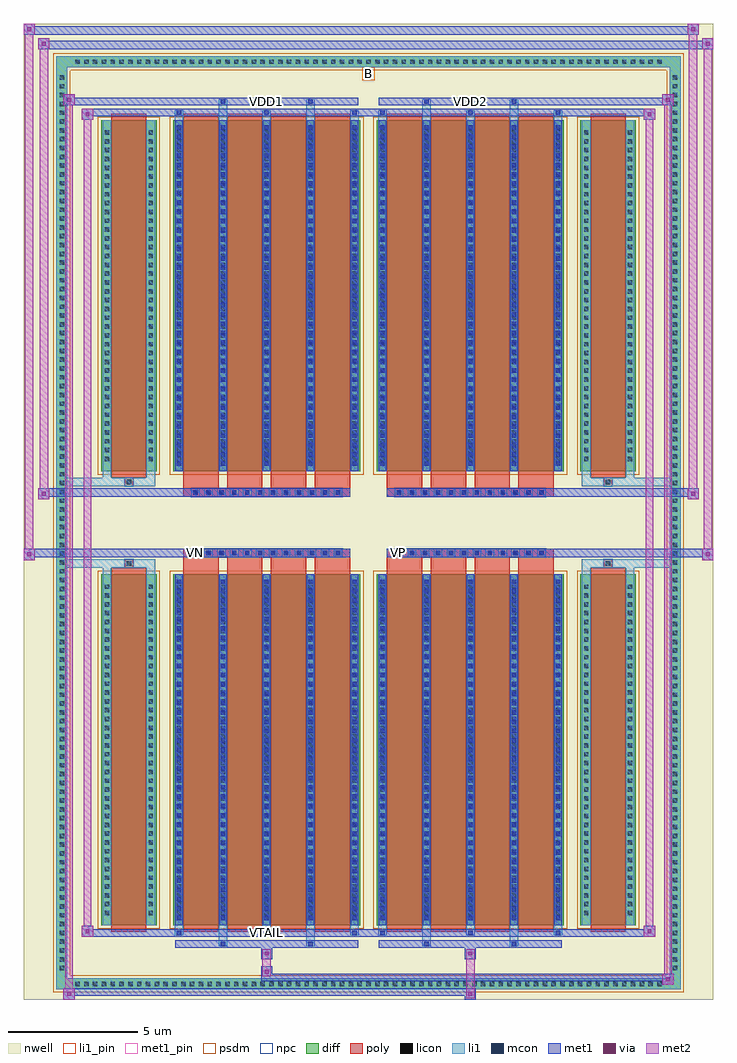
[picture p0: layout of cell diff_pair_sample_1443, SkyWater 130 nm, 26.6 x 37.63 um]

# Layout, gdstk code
import gdstk
lib = gdstk.Library(unit=1e-6, precision=5e-09)
def R(c, l, rs):  # rectangles x0, y0, x1, y1
    for r in rs: c.add(gdstk.rectangle(r[:2], r[2:], *l))
def A(c, l, x, y, w, h, nx, ny, dx, dy):  # array of equal rectangles
    R(c, l, [(x+i*dx, y+j*dy, x+i*dx+w, y+j*dy+h) for i in range(nx) for j in range(ny)])
def P(c, l, *ps):  # polygons
    for p in ps: c.add(gdstk.Polygon(p, *l))
nwell = (64, 20)
diff = (65, 20)
poly = (66, 20)
licon = (66, 44)
li1_pin = (67, 16)
li1 = (67, 20)
mcon = (67, 44)
met1_pin = (68, 16)
met1 = (68, 20)
via = (68, 44)
met2 = (69, 20)
psdm = (94, 20)
npc = (95, 20)

diff_pair_sample_1443 = lib.new_cell('diff_pair_sample_1443')
R(diff_pair_sample_1443, nwell, [(-13.3,-18.38,13.3,19.25), (-10.62,-16.57,-0.01,-0.805), (0.01,-16.57,10.62,-0.805), (-10.62,0.805,-0.01,16.57), (0.01,0.805,10.62,16.57)])
A(diff_pair_sample_1443, diff, -11.425, -17.98, 0.41, 0.41, 67, 2, 0.34, 35.55)
A(diff_pair_sample_1443, diff, -12.03, -17.375, 0.41, 0.41, 1, 102, 0, 0.34)
A(diff_pair_sample_1443, diff, 11.62, -17.375, 0.41, 0.41, 1, 102, 0, 0.34)
R(diff_pair_sample_1443, diff, [(-11.425,-17.98,11.425,-17.57), (-12.03,-17.375,-11.62,17.375), (11.62,-17.375,12.03,17.375), (-10.31,-15.525,-8.17,-1.985), (-7.53,-15.525,-0.32,-1.985), (0.32,-15.525,7.53,-1.985), (8.17,-15.525,10.31,-1.985), (-10.31,1.985,-8.17,15.525), (-7.53,1.985,-0.32,15.525), (0.32,1.985,7.53,15.525), (8.17,1.985,10.31,15.525), (-11.425,17.57,11.425,17.98)])
P(diff_pair_sample_1443, diff, [(12.03,17.98),(-12.03,17.98),(-12.03,-17.57),(-11.62,-17.57),(-11.62,17.57),(11.62,17.57),(11.62,-17.57),(-11.62,-17.57),(-12.03,-17.57),(-12.03,-17.98),(12.03,-17.98)])
A(diff_pair_sample_1443, poly, -7.14, -15.775, 1.36, 14.04, 4, 2, 1.69, 17.51)
A(diff_pair_sample_1443, poly, 0.71, -15.775, 1.36, 14.04, 4, 2, 1.69, 17.51)
A(diff_pair_sample_1443, poly, -7.14, -1.735, 1.36, 0.4, 4, 2, 1.69, 3.07)
A(diff_pair_sample_1443, poly, 0.71, -1.735, 1.36, 0.4, 4, 2, 1.69, 3.07)
A(diff_pair_sample_1443, poly, -6.84, -1.335, 0.33, 0.33, 12, 2, 0.5, 2.34)
A(diff_pair_sample_1443, poly, 1.01, -1.335, 0.33, 0.33, 12, 2, 0.5, 2.34)
R(diff_pair_sample_1443, poly, [(-9.92,-15.775,-8.56,-1.735), (8.56,-15.775,9.92,-1.735), (-9.405,-1.735,-9.075,-1.405), (-9.405,-1.735,-9.075,-1.405), (9.075,-1.735,9.405,-1.405), (9.075,-1.735,9.405,-1.405), (-7.14,-1.335,-0.71,-1.005), (0.71,-1.335,7.14,-1.005), (-7.14,1.005,-0.71,1.335), (0.71,1.005,7.14,1.335), (-9.405,1.405,-9.075,1.735), (-9.405,1.405,-9.075,1.735), (9.075,1.405,9.405,1.735), (9.075,1.405,9.405,1.735), (-9.92,1.735,-8.56,15.775), (8.56,1.735,9.92,15.775)])
A(diff_pair_sample_1443, licon, -11.305, -17.86, 0.17, 0.17, 67, 2, 0.34, 35.55)
A(diff_pair_sample_1443, licon, -11.91, -17.255, 0.17, 0.17, 1, 102, 0, 0.34)
A(diff_pair_sample_1443, licon, 11.74, -17.255, 0.17, 0.17, 1, 102, 0, 0.34)
A(diff_pair_sample_1443, licon, -10.17, -15.13, 0.17, 0.17, 1, 38, 0, 0.34)
A(diff_pair_sample_1443, licon, -8.48, -15.13, 0.17, 0.17, 1, 38, 0, 0.34)
A(diff_pair_sample_1443, licon, -7.39, -15.13, 0.17, 0.17, 5, 38, 1.69, 0.34)
A(diff_pair_sample_1443, licon, 0.46, -15.13, 0.17, 0.17, 5, 38, 1.69, 0.34)
A(diff_pair_sample_1443, licon, 8.31, -15.13, 0.17, 0.17, 1, 38, 0, 0.34)
A(diff_pair_sample_1443, licon, 10, -15.13, 0.17, 0.17, 1, 38, 0, 0.34)
A(diff_pair_sample_1443, licon, -6.76, -1.255, 0.17, 0.17, 12, 2, 0.5, 2.34)
A(diff_pair_sample_1443, licon, 1.09, -1.255, 0.17, 0.17, 12, 2, 0.5, 2.34)
A(diff_pair_sample_1443, licon, -10.17, 2.38, 0.17, 0.17, 1, 38, 0, 0.34)
A(diff_pair_sample_1443, licon, -8.48, 2.38, 0.17, 0.17, 1, 38, 0, 0.34)
A(diff_pair_sample_1443, licon, -7.39, 2.38, 0.17, 0.17, 5, 38, 1.69, 0.34)
A(diff_pair_sample_1443, licon, 0.46, 2.38, 0.17, 0.17, 5, 38, 1.69, 0.34)
A(diff_pair_sample_1443, licon, 8.31, 2.38, 0.17, 0.17, 1, 38, 0, 0.34)
A(diff_pair_sample_1443, licon, 10, 2.38, 0.17, 0.17, 1, 38, 0, 0.34)
R(diff_pair_sample_1443, licon, [(-9.325,-1.655,-9.155,-1.485), (9.155,-1.655,9.325,-1.485), (-9.325,1.485,-9.155,1.655), (9.155,1.485,9.325,1.655)])
R(diff_pair_sample_1443, li1_pin, [(-0.25,17.07,0.25,17.57)])
A(diff_pair_sample_1443, li1, -11.385, -17.94, 0.33, 0.33, 67, 2, 0.34, 35.55)
A(diff_pair_sample_1443, li1, -11.99, -17.335, 0.33, 0.33, 1, 102, 0, 0.34)
A(diff_pair_sample_1443, li1, 11.66, -17.335, 0.33, 0.33, 1, 102, 0, 0.34)
A(diff_pair_sample_1443, li1, -7.47, -15.9, 0.33, 0.375, 3, 2, 3.38, 31.425)
A(diff_pair_sample_1443, li1, -7.39, -15.9, 0.17, 0.17, 3, 2, 3.38, 31.63)
A(diff_pair_sample_1443, li1, 0.38, -15.9, 0.33, 0.375, 3, 2, 3.38, 31.425)
A(diff_pair_sample_1443, li1, 0.46, -15.9, 0.17, 0.17, 3, 2, 3.38, 31.63)
A(diff_pair_sample_1443, li1, -7.47, -15.525, 0.33, 13.54, 5, 2, 1.69, 17.51)
A(diff_pair_sample_1443, li1, 0.38, -15.525, 0.33, 13.54, 5, 2, 1.69, 17.51)
A(diff_pair_sample_1443, li1, -7.39, -15.32, 0.17, 0.17, 5, 37, 1.69, 0.36)
A(diff_pair_sample_1443, li1, -7.39, -15.32, 0.17, 13.13, 5, 2, 1.69, 17.51)
A(diff_pair_sample_1443, li1, 0.46, -15.32, 0.17, 0.17, 5, 37, 1.69, 0.36)
A(diff_pair_sample_1443, li1, 0.46, -15.32, 0.17, 13.13, 5, 2, 1.69, 17.51)
A(diff_pair_sample_1443, li1, -10.25, -15.21, 0.33, 0.33, 1, 38, 0, 0.34)
A(diff_pair_sample_1443, li1, -8.56, -15.21, 0.33, 0.33, 1, 38, 0, 0.34)
A(diff_pair_sample_1443, li1, -7.47, -15.21, 0.33, 0.33, 5, 38, 1.69, 0.34)
A(diff_pair_sample_1443, li1, 0.38, -15.21, 0.33, 0.33, 5, 38, 1.69, 0.34)
A(diff_pair_sample_1443, li1, 8.23, -15.21, 0.33, 0.33, 1, 38, 0, 0.34)
A(diff_pair_sample_1443, li1, 9.92, -15.21, 0.33, 0.33, 1, 38, 0, 0.34)
A(diff_pair_sample_1443, li1, -6.84, -1.335, 0.33, 0.33, 12, 2, 0.5, 2.34)
A(diff_pair_sample_1443, li1, 1.01, -1.335, 0.33, 0.33, 12, 2, 0.5, 2.34)
A(diff_pair_sample_1443, li1, -7.39, 2.19, 0.17, 0.17, 5, 37, 1.69, 0.36)
A(diff_pair_sample_1443, li1, 0.46, 2.19, 0.17, 0.17, 5, 37, 1.69, 0.36)
A(diff_pair_sample_1443, li1, -10.25, 2.3, 0.33, 0.33, 1, 38, 0, 0.34)
A(diff_pair_sample_1443, li1, -8.56, 2.3, 0.33, 0.33, 1, 38, 0, 0.34)
A(diff_pair_sample_1443, li1, -7.47, 2.3, 0.33, 0.33, 5, 38, 1.69, 0.34)
A(diff_pair_sample_1443, li1, 0.38, 2.3, 0.33, 0.33, 5, 38, 1.69, 0.34)
A(diff_pair_sample_1443, li1, 8.23, 2.3, 0.33, 0.33, 1, 38, 0, 0.34)
A(diff_pair_sample_1443, li1, 9.92, 2.3, 0.33, 0.33, 1, 38, 0, 0.34)
R(diff_pair_sample_1443, li1, [(-12.03,-17.98,-11.62,-17.57), (-12.03,-17.98,-11.62,-17.57), (-11.62,-17.98,11.62,-17.57), (11.62,-17.98,12.03,-17.57), (11.62,-17.98,12.03,-17.57), (-12.03,-17.57,-11.62,17.57), (11.62,-17.57,12.03,17.57), (-5.78,-16.33,-5.45,-15.525), (-5.7,-16.33,-5.53,-16.16), (-2.4,-16.33,-2.07,-15.525), (-2.32,-16.33,-2.15,-16.16), (2.07,-16.33,2.4,-15.525), (2.15,-16.33,2.32,-16.16), (5.45,-16.33,5.78,-15.525), (5.53,-16.33,5.7,-16.16), (-10.25,-15.525,-9.92,-1.985), (-8.56,-15.525,-8.23,-1.985), (8.23,-15.525,8.56,-1.985), (9.92,-15.525,10.25,-1.985), (-10.25,-1.985,-9.92,-1.405), (-8.56,-1.985,-8.23,-1.405), (8.23,-1.985,8.56,-1.405), (9.92,-1.985,10.25,-1.405), (-12.03,-1.735,-9.405,-1.405), (-10.25,-1.735,-9.405,-1.405), (-9.405,-1.735,-9.075,-1.405), (-9.075,-1.735,-8.23,-1.405), (8.23,-1.735,9.075,-1.405), (9.075,-1.735,9.405,-1.405), (9.075,-1.735,12.03,-1.405), (9.405,-1.735,10.25,-1.405), (-12.03,1.405,-9.405,1.735), (-10.25,1.405,-9.405,1.735), (-10.25,1.405,-9.92,1.985), (-9.405,1.405,-9.075,1.735), (-9.075,1.405,-8.23,1.735), (-8.56,1.405,-8.23,1.985), (8.23,1.405,9.075,1.735), (8.23,1.405,8.56,1.985), (9.075,1.405,9.405,1.735), (9.075,1.405,12.03,1.735), (9.405,1.405,10.25,1.735), (9.92,1.405,10.25,1.985), (-10.25,1.985,-9.92,15.525), (-8.56,1.985,-8.23,15.525), (8.23,1.985,8.56,15.525), (9.92,1.985,10.25,15.525), (-5.78,15.525,-5.45,16.33), (-2.4,15.525,-2.07,16.33), (2.07,15.525,2.4,16.33), (5.45,15.525,5.78,16.33), (-5.7,16.16,-5.53,16.33), (-2.32,16.16,-2.15,16.33), (2.15,16.16,2.32,16.33), (5.53,16.16,5.7,16.33), (-12.03,17.57,-11.62,17.98), (-12.03,17.57,-11.62,17.98), (-11.62,17.57,11.62,17.98), (11.62,17.57,12.03,17.98), (11.62,17.57,12.03,17.98)])
A(diff_pair_sample_1443, mcon, -7.39, -15.9, 0.17, 0.17, 3, 2, 3.38, 31.63)
A(diff_pair_sample_1443, mcon, 0.46, -15.9, 0.17, 0.17, 3, 2, 3.38, 31.63)
A(diff_pair_sample_1443, mcon, -7.39, -15.32, 0.17, 0.17, 5, 37, 1.69, 0.36)
A(diff_pair_sample_1443, mcon, 0.46, -15.32, 0.17, 0.17, 5, 37, 1.69, 0.36)
A(diff_pair_sample_1443, mcon, -6.76, -1.255, 0.17, 0.17, 12, 2, 0.5, 2.34)
A(diff_pair_sample_1443, mcon, 1.09, -1.255, 0.17, 0.17, 12, 2, 0.5, 2.34)
A(diff_pair_sample_1443, mcon, -7.39, 2.19, 0.17, 0.17, 5, 37, 1.69, 0.36)
A(diff_pair_sample_1443, mcon, 0.46, 2.19, 0.17, 0.17, 5, 37, 1.69, 0.36)
R(diff_pair_sample_1443, mcon, [(-5.7,-16.33,-5.53,-16.16), (-2.32,-16.33,-2.15,-16.16), (2.15,-16.33,2.32,-16.16), (5.53,-16.33,5.7,-16.16), (-5.7,16.16,-5.53,16.33), (-2.32,16.16,-2.15,16.33), (2.15,16.16,2.32,16.33), (5.53,16.16,5.7,16.33)])
R(diff_pair_sample_1443, met1_pin, [(-4.06,-15.94,-3.79,-15.67), (-6.81,-1.295,-6.54,-1.025), (1.04,-1.295,1.31,-1.025), (-4.06,16.12,-3.79,16.39), (3.79,16.12,4.06,16.39)])
A(diff_pair_sample_1443, met1, -7.45, -15.96, 0.29, 0.29, 3, 2, 3.38, 31.63)
A(diff_pair_sample_1443, met1, 0.4, -15.96, 0.29, 0.29, 3, 2, 3.38, 31.63)
A(diff_pair_sample_1443, met1, -7.45, -15.525, 0.29, 13.54, 5, 2, 1.69, 17.51)
A(diff_pair_sample_1443, met1, 0.4, -15.525, 0.29, 13.54, 5, 2, 1.69, 17.51)
A(diff_pair_sample_1443, met1, -7.45, -15.38, 0.29, 0.29, 5, 37, 1.69, 0.36)
A(diff_pair_sample_1443, met1, 0.4, -15.38, 0.29, 0.29, 5, 37, 1.69, 0.36)
A(diff_pair_sample_1443, met1, -6.82, -1.315, 0.29, 0.29, 12, 2, 0.5, 2.34)
A(diff_pair_sample_1443, met1, 1.03, -1.315, 0.29, 0.29, 12, 2, 0.5, 2.34)
A(diff_pair_sample_1443, met1, -7.45, 2.13, 0.29, 0.29, 5, 37, 1.69, 0.36)
A(diff_pair_sample_1443, met1, 0.4, 2.13, 0.29, 0.29, 5, 37, 1.69, 0.36)
R(diff_pair_sample_1443, met1, [(-11.76,-18.38,-11.33,-17.95), (3.71,-18.38,4.14,-17.95), (-11.76,-18.24,4.14,-17.95), (11.33,-17.81,11.76,-17.38), (-4.14,-17.67,11.76,-17.38), (-4.14,-17.53,-3.71,-17.1), (-4.14,-16.82,-3.71,-16.39), (3.71,-16.82,4.14,-16.39), (-7.45,-16.39,-0.4,-16.1), (-5.76,-16.39,-5.47,-16.1), (-2.38,-16.39,-2.09,-16.1), (0.4,-16.39,7.45,-16.1), (2.09,-16.39,2.38,-16.1), (5.47,-16.39,5.76,-16.1), (-11.05,-15.96,-10.62,-15.53), (-11.05,-15.96,-7.45,-15.67), (-7.45,-15.96,-0.4,-15.67), (-0.4,-15.96,0.4,-15.67), (0.4,-15.96,7.45,-15.67), (7.45,-15.96,11.05,-15.67), (10.62,-15.96,11.05,-15.53), (-13.3,-1.435,-12.87,-1.005), (12.87,-1.435,13.3,-1.005), (-13.3,-1.335,-0.71,-1.005), (-7.14,-1.335,-0.71,-1.005), (0.71,-1.335,7.14,-1.005), (0.71,-1.335,13.3,-1.005), (-12.73,0.905,-12.3,1.335), (12.3,0.905,12.73,1.335), (-12.73,1.005,-7.14,1.335), (-7.14,1.005,-0.71,1.335), (0.71,1.005,7.14,1.335), (7.14,1.005,12.73,1.335), (-11.05,15.53,-10.62,15.96), (10.62,15.53,11.05,15.96), (-11.05,15.67,-7.45,15.96), (-7.45,15.67,-0.4,15.96), (-0.4,15.67,0.4,15.96), (0.4,15.67,7.45,15.96), (7.45,15.67,11.05,15.96), (-11.76,16.1,-11.33,16.53), (-11.76,16.1,-7.45,16.39), (-7.45,16.1,-0.4,16.39), (-5.76,16.1,-5.47,16.39), (-2.38,16.1,-2.09,16.39), (0.4,16.1,7.45,16.39), (2.09,16.1,2.38,16.39), (5.47,16.1,5.76,16.39), (7.45,16.1,11.76,16.39), (11.33,16.1,11.76,16.53), (-12.73,18.25,-12.3,18.68), (-12.73,18.25,-10.62,18.58), (-10.62,18.25,10.62,18.58), (10.62,18.25,13.3,18.58), (12.87,18.25,13.3,18.68), (-13.3,18.82,-12.87,19.25), (-13.3,18.82,-10.62,19.15), (-10.62,18.82,10.62,19.15), (10.62,18.82,12.73,19.15), (12.3,18.82,12.73,19.25)])
R(diff_pair_sample_1443, via, [(-11.62,-18.24,-11.47,-18.09), (3.85,-18.24,4,-18.09), (11.47,-17.67,11.62,-17.52), (-4,-17.39,-3.85,-17.24), (-4,-16.68,-3.85,-16.53), (3.85,-16.68,4,-16.53), (-10.91,-15.82,-10.76,-15.67), (10.76,-15.82,10.91,-15.67), (-13.16,-1.295,-13.01,-1.145), (13.01,-1.295,13.16,-1.145), (-12.59,1.045,-12.44,1.195), (12.44,1.045,12.59,1.195), (-10.91,15.67,-10.76,15.82), (10.76,15.67,10.91,15.82), (-11.62,16.24,-11.47,16.39), (11.47,16.24,11.62,16.39), (-12.59,18.39,-12.44,18.54), (13.01,18.39,13.16,18.54), (-13.16,18.96,-13.01,19.11), (12.44,18.96,12.59,19.11)])
R(diff_pair_sample_1443, met2, [(-11.76,-18.38,-11.33,-17.95), (-11.69,-18.38,-11.4,16.53), (-11.4,-18.38,-11.33,-17.95), (-11.71,-18.33,-11.38,-18), (3.76,-18.33,4.09,-18), (3.76,-18,4.09,-16.77), (11.33,-17.81,11.76,-17.38), (11.4,-17.81,11.69,16.53), (11.69,-17.81,11.76,-17.38), (11.38,-17.76,11.71,-17.43), (-4.09,-17.48,-3.76,-17.15), (-4.09,-17.15,-3.76,-16.77), (-4.09,-16.77,-3.76,-16.44), (3.76,-16.77,4.09,-16.44), (-11.05,-15.96,-10.62,-15.53), (-10.98,-15.96,-10.69,15.96), (-10.69,-15.96,-10.62,-15.53), (10.62,-15.96,11.05,-15.53), (10.69,-15.96,10.98,15.96), (10.98,-15.96,11.05,-15.53), (-11,-15.91,-10.67,-15.58), (10.67,-15.91,11,-15.58), (-13.3,-1.435,-12.87,-1.005), (-13.25,-1.435,-12.92,19.25), (-12.92,-1.435,-12.87,-1.005), (12.87,-1.435,13.3,-1.005), (12.92,-1.435,13.25,18.68), (13.25,-1.435,13.3,-1.005), (-13.25,-1.385,-12.92,-1.055), (12.92,-1.385,13.25,-1.055), (-12.73,0.905,-12.3,1.335), (-12.68,0.905,-12.35,18.68), (-12.35,0.905,-12.3,1.335), (12.3,0.905,12.73,1.335), (12.35,0.905,12.68,19.25), (12.68,0.905,12.73,1.335), (-12.68,0.955,-12.35,1.285), (12.35,0.955,12.68,1.285), (-11.05,15.53,-10.62,15.96), (-10.69,15.53,-10.62,15.96), (10.62,15.53,11.05,15.96), (10.98,15.53,11.05,15.96), (-11,15.58,-10.67,15.91), (10.67,15.58,11,15.91), (-11.76,16.1,-11.33,16.53), (-11.4,16.1,-11.33,16.53), (11.33,16.1,11.76,16.53), (11.69,16.1,11.76,16.53), (-11.71,16.15,-11.38,16.48), (11.38,16.15,11.71,16.48), (-12.73,18.25,-12.3,18.68), (-12.35,18.25,-12.3,18.68), (12.87,18.25,13.3,18.68), (13.25,18.25,13.3,18.68), (-12.68,18.3,-12.35,18.63), (12.92,18.3,13.25,18.63), (-13.3,18.82,-12.87,19.25), (-12.92,18.82,-12.87,19.25), (12.3,18.82,12.73,19.25), (12.68,18.82,12.73,19.25), (-13.25,18.87,-12.92,19.2), (12.35,18.87,12.68,19.2)])
R(diff_pair_sample_1443, psdm, [(-10.44,-15.655,-8.04,-1.855), (-7.66,-15.655,-0.19,-1.855), (0.19,-15.655,7.66,-1.855), (8.04,-15.655,10.44,-1.855), (-10.44,1.855,-8.04,15.655), (-7.66,1.855,-0.19,15.655), (0.19,1.855,7.66,15.655), (8.04,1.855,10.44,15.655)])
P(diff_pair_sample_1443, psdm, [(12.16,18.11),(-12.16,18.11),(-12.16,-17.44),(-11.49,-17.44),(-11.49,17.44),(11.49,17.44),(11.49,-17.44),(-11.49,-17.44),(-12.16,-17.44),(-12.16,-18.11),(12.16,-18.11)])
A(diff_pair_sample_1443, npc, -6.86, -1.355, 0.37, 0.37, 12, 2, 0.5, 2.34)
A(diff_pair_sample_1443, npc, 0.99, -1.355, 0.37, 0.37, 12, 2, 0.5, 2.34)
R(diff_pair_sample_1443, npc, [(-9.425,-1.755,-9.055,-1.385), (9.055,-1.755,9.425,-1.385), (-6.86,-1.355,-5.99,-0.985), (-6.86,-1.355,-5.99,-0.985), (-6.36,-1.355,-5.49,-0.985), (-6.36,-1.355,-5.49,-0.985), (-5.86,-1.355,-4.99,-0.985), (-5.86,-1.355,-4.99,-0.985), (-5.36,-1.355,-4.49,-0.985), (-5.36,-1.355,-4.49,-0.985), (-4.86,-1.355,-3.99,-0.985), (-4.86,-1.355,-3.99,-0.985), (-4.36,-1.355,-3.49,-0.985), (-4.36,-1.355,-3.49,-0.985), (-3.86,-1.355,-2.99,-0.985), (-3.86,-1.355,-2.99,-0.985), (-3.36,-1.355,-2.49,-0.985), (-3.36,-1.355,-2.49,-0.985), (-2.86,-1.355,-1.99,-0.985), (-2.86,-1.355,-1.99,-0.985), (-2.36,-1.355,-1.49,-0.985), (-2.36,-1.355,-1.49,-0.985), (-1.86,-1.355,-0.99,-0.985), (-1.86,-1.355,-0.99,-0.985), (0.99,-1.355,1.86,-0.985), (0.99,-1.355,1.86,-0.985), (1.49,-1.355,2.36,-0.985), (1.49,-1.355,2.36,-0.985), (1.99,-1.355,2.86,-0.985), (1.99,-1.355,2.86,-0.985), (2.49,-1.355,3.36,-0.985), (2.49,-1.355,3.36,-0.985), (2.99,-1.355,3.86,-0.985), (2.99,-1.355,3.86,-0.985), (3.49,-1.355,4.36,-0.985), (3.49,-1.355,4.36,-0.985), (3.99,-1.355,4.86,-0.985), (3.99,-1.355,4.86,-0.985), (4.49,-1.355,5.36,-0.985), (4.49,-1.355,5.36,-0.985), (4.99,-1.355,5.86,-0.985), (4.99,-1.355,5.86,-0.985), (5.49,-1.355,6.36,-0.985), (5.49,-1.355,6.36,-0.985), (5.99,-1.355,6.86,-0.985), (5.99,-1.355,6.86,-0.985), (-6.86,0.985,-5.99,1.355), (-6.86,0.985,-5.99,1.355), (-6.36,0.985,-5.49,1.355), (-6.36,0.985,-5.49,1.355), (-5.86,0.985,-4.99,1.355), (-5.86,0.985,-4.99,1.355), (-5.36,0.985,-4.49,1.355), (-5.36,0.985,-4.49,1.355), (-4.86,0.985,-3.99,1.355), (-4.86,0.985,-3.99,1.355), (-4.36,0.985,-3.49,1.355), (-4.36,0.985,-3.49,1.355), (-3.86,0.985,-2.99,1.355), (-3.86,0.985,-2.99,1.355), (-3.36,0.985,-2.49,1.355), (-3.36,0.985,-2.49,1.355), (-2.86,0.985,-1.99,1.355), (-2.86,0.985,-1.99,1.355), (-2.36,0.985,-1.49,1.355), (-2.36,0.985,-1.49,1.355), (-1.86,0.985,-0.99,1.355), (-1.86,0.985,-0.99,1.355), (0.99,0.985,1.86,1.355), (0.99,0.985,1.86,1.355), (1.49,0.985,2.36,1.355), (1.49,0.985,2.36,1.355), (1.99,0.985,2.86,1.355), (1.99,0.985,2.86,1.355), (2.49,0.985,3.36,1.355), (2.49,0.985,3.36,1.355), (2.99,0.985,3.86,1.355), (2.99,0.985,3.86,1.355), (3.49,0.985,4.36,1.355), (3.49,0.985,4.36,1.355), (3.99,0.985,4.86,1.355), (3.99,0.985,4.86,1.355), (4.49,0.985,5.36,1.355), (4.49,0.985,5.36,1.355), (4.99,0.985,5.86,1.355), (4.99,0.985,5.86,1.355), (5.49,0.985,6.36,1.355), (5.49,0.985,6.36,1.355), (5.99,0.985,6.86,1.355), (5.99,0.985,6.86,1.355), (-9.425,1.385,-9.055,1.755), (9.055,1.385,9.425,1.755)])
diff_pair_sample_1443.add(gdstk.Label('VTAIL', (-3.925,-15.805), layer=68, texttype=5))
diff_pair_sample_1443.add(gdstk.Label('VN', (-6.675,-1.16), layer=68, texttype=5))
diff_pair_sample_1443.add(gdstk.Label('VP', (1.175,-1.16), layer=68, texttype=5))
diff_pair_sample_1443.add(gdstk.Label('B', (0,17.32), layer=67, texttype=5))
diff_pair_sample_1443.add(gdstk.Label('VDD2', (3.925,16.255), layer=68, texttype=5))
diff_pair_sample_1443.add(gdstk.Label('VDD1', (-3.925,16.255), layer=68, texttype=5))

lib.write_gds('diff_pair_sample_1443.gds')
